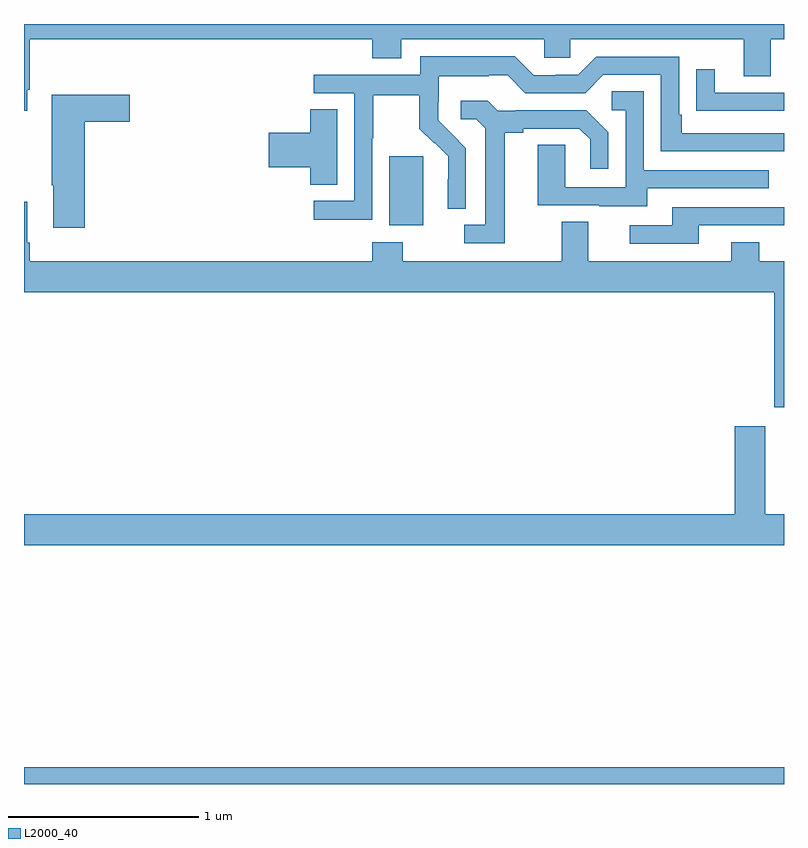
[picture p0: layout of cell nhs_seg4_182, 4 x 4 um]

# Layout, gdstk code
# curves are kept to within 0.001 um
import gdstk
lib = gdstk.Library(unit=1e-6, precision=1e-09)
def R(c, l, rs):  # rectangles x0, y0, x1, y1
    for r in rs: c.add(gdstk.rectangle(r[:2], r[2:], *l))
def P(c, l, *ps):  # polygons
    for p in ps: c.add(gdstk.Polygon(p, *l))
L2000_40 = (2000, 40)

nhs_seg4_182 = lib.new_cell('nhs_seg4_182')
R(nhs_seg4_182, L2000_40, [(119,792.9,123,792.988), (120.923,795.842,121.102,796.203)])
P(nhs_seg4_182, L2000_40, [(119.017,796.555),(119.03,796.555),(119.03,796.82),(120.833,796.82),(120.833,796.721),(120.985,796.721),(120.985,796.82),(121.737,796.82),(121.737,796.722),(121.875,796.722),(121.875,796.82),(122.789,796.82),(122.789,796.626),(122.929,796.626),(122.929,796.82),(123,796.82),(123,796.9),(119,796.9),(119,796.443),(119.017,796.443)],
  [(120.834,796.3),(120.837,796.3),(120.837,796.524),(121.081,796.524),(121.081,796.349),(121.158,796.272),(121.161,796.275),(121.232,796.205),(121.232,796.082),(121.23,796.082),(121.23,795.928),(121.326,795.928),(121.326,796.246),(121.18,796.394),(121.18,796.491),(121.182,796.491),(121.182,796.625),(121.445,796.625),(121.445,796.629),(121.545,796.629),(121.638,796.536),(121.953,796.536),(122.049,796.632),(122.352,796.632),(122.352,796.23),(123,796.23),(123,796.326),(122.461,796.326),(122.461,796.423),(122.448,796.423),(122.448,796.728),(122.013,796.728),(121.917,796.632),(121.799,796.632),(121.799,796.629),(121.683,796.629),(121.583,796.729),(121.086,796.729),(121.086,796.632),(120.525,796.632),(120.525,796.536),(120.738,796.536),(120.738,795.969),(120.525,795.969),(120.525,795.871),(120.834,795.871)],
  [(123,796.539),(122.635,796.539),(122.635,796.663),(122.539,796.663),(122.539,796.444),(122.641,796.444),(122.641,796.443),(123,796.443)],
  [(122.281,796.035),(122.921,796.035),(122.921,796.131),(122.262,796.131),(122.262,796.547),(122.094,796.547),(122.094,796.446),(122.166,796.446),(122.166,796.041),(121.848,796.041),(121.848,796.265),(121.703,796.265),(121.703,795.945),(122.027,795.945),(122.027,795.941),(122.281,795.941)],
  [(119.321,796.385),(119.557,796.385),(119.557,796.527),(119.146,796.527),(119.146,796.051),(119.153,796.051),(119.153,795.828),(119.321,795.828)],
  [(121.531,796.328),(121.627,796.328),(121.627,796.35),(121.922,796.35),(121.979,796.293),(121.979,796.137),(122.076,796.137),(122.076,796.33),(121.96,796.446),(121.588,796.446),(121.588,796.443),(121.494,796.443),(121.442,796.495),(121.299,796.495),(121.299,796.398),(121.38,796.398),(121.427,796.351),(121.427,795.843),(121.317,795.843),(121.317,795.747),(121.531,795.747)],
  [(120.649,796.451),(120.506,796.451),(120.506,796.328),(120.288,796.328),(120.288,796.145),(120.506,796.145),(120.506,796.054),(120.649,796.054)],
  [(123,795.652),(122.871,795.652),(122.871,795.751),(122.723,795.751),(122.723,795.652),(121.969,795.652),(121.969,795.86),(121.829,795.86),(121.829,795.652),(120.993,795.652),(120.993,795.751),(120.833,795.751),(120.833,795.652),(119.03,795.652),(119.03,795.748),(119.017,795.748),(119.017,795.964),(119,795.964),(119,795.488),(122.948,795.488),(122.948,794.882),(123,794.882)],
  [(122.551,795.84),(123,795.84),(123,795.936),(122.411,795.936),(122.411,795.84),(122.187,795.84),(122.187,795.744),(122.551,795.744)],
  [(123,794.32),(122.901,794.32),(122.901,794.782),(122.741,794.782),(122.741,794.32),(119,794.32),(119,794.156),(123,794.156)])

lib.write_gds('nhs_seg4_182.gds')
